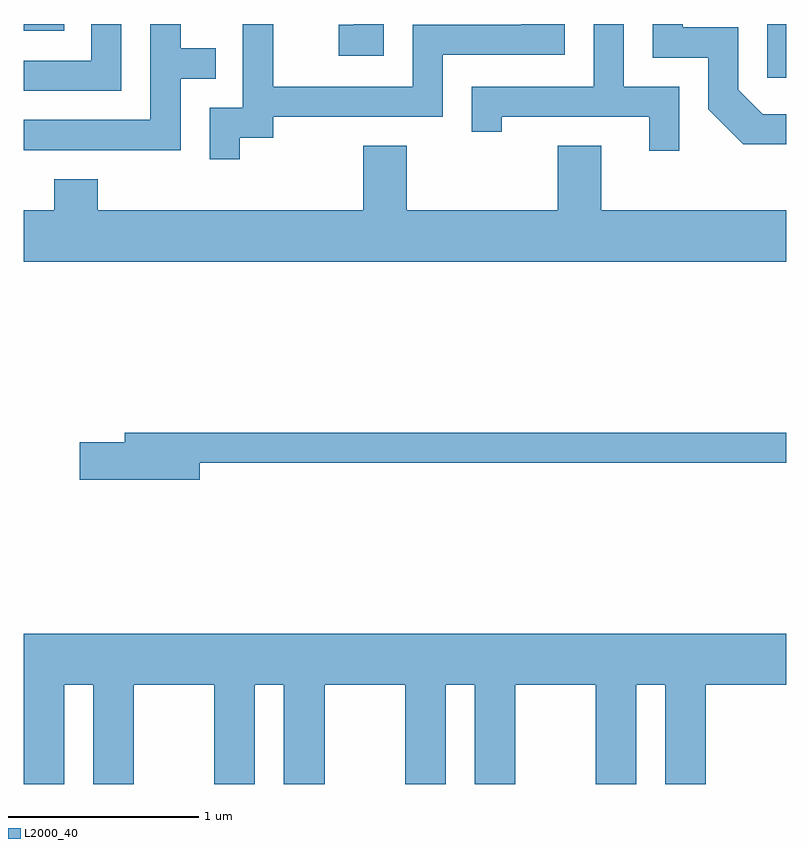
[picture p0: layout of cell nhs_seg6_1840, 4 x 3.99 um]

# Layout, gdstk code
import gdstk
lib = gdstk.Library(unit=1e-6, precision=1e-09)
def R(c, l, rs):  # rectangles x0, y0, x1, y1
    for r in rs: c.add(gdstk.rectangle(r[:2], r[2:], *l))
def P(c, l, *ps):  # polygons
    for p in ps: c.add(gdstk.Polygon(p, *l))
L2000_40 = (2000, 40)

nhs_seg6_1840 = lib.new_cell('nhs_seg6_1840')
R(nhs_seg6_1840, L2000_40, [(245.511,1559.881,245.611,1560.162), (241.611,1560.126,241.823,1560.162)])
P(nhs_seg6_1840, L2000_40, [(242.434,1559.876),(242.618,1559.876),(242.618,1560.034),(242.434,1560.034),(242.434,1560.162),(242.276,1560.162),(242.276,1559.659),(241.611,1559.659),(241.611,1559.501),(242.434,1559.501)],
  [(245.049,1559.834),(244.759,1559.834),(244.759,1560.162),(244.601,1560.162),(244.601,1559.834),(243.961,1559.834),(243.961,1559.598),(244.119,1559.598),(244.119,1559.676),(244.891,1559.676),(244.891,1559.498),(245.049,1559.498)],
  [(243.499,1560.162),(243.341,1560.162),(243.341,1560.159),(243.263,1560.159),(243.263,1559.996),(243.499,1559.996)],
  [(242.744,1559.566),(242.919,1559.566),(242.919,1559.676),(243.809,1559.676),(243.809,1560.001),(244.449,1560.001),(244.449,1560.162),(244.221,1560.162),(244.221,1560.159),(243.651,1560.159),(243.651,1559.834),(242.919,1559.834),(242.919,1560.162),(242.761,1560.162),(242.761,1559.724),(242.586,1559.724),(242.586,1559.453),(242.744,1559.453)],
  [(245.611,1559.689),(245.487,1559.689),(245.359,1559.817),(245.359,1560.144),(245.069,1560.144),(245.069,1560.162),(244.911,1560.162),(244.911,1559.986),(245.201,1559.986),(245.201,1559.714),(245.384,1559.531),(245.611,1559.531)],
  [(242.124,1560.162),(241.966,1560.162),(241.966,1559.969),(241.611,1559.969),(241.611,1559.811),(242.124,1559.811)],
  [(245.611,1559.184),(244.639,1559.184),(244.639,1559.524),(244.411,1559.524),(244.411,1559.184),(243.619,1559.184),(243.619,1559.524),(243.391,1559.524),(243.391,1559.184),(241.999,1559.184),(241.999,1559.349),(241.771,1559.349),(241.771,1559.184),(241.611,1559.184),(241.611,1558.916),(245.611,1558.916)],
  [(242.534,1557.861),(245.611,1557.861),(245.611,1558.019),(242.141,1558.019),(242.141,1557.969),(241.906,1557.969),(241.906,1557.771),(242.534,1557.771)],
  [(241.824,1556.696),(241.976,1556.696),(241.976,1556.176),(242.189,1556.176),(242.189,1556.696),(242.611,1556.696),(242.611,1556.176),(242.824,1556.176),(242.824,1556.696),(242.976,1556.696),(242.976,1556.176),(243.189,1556.176),(243.189,1556.696),(243.611,1556.696),(243.611,1556.176),(243.824,1556.176),(243.824,1556.696),(243.976,1556.696),(243.976,1556.176),(244.189,1556.176),(244.189,1556.696),(244.611,1556.696),(244.611,1556.176),(244.824,1556.176),(244.824,1556.696),(244.976,1556.696),(244.976,1556.176),(245.189,1556.176),(245.189,1556.696),(245.611,1556.696),(245.611,1556.964),(241.611,1556.964),(241.611,1556.176),(241.824,1556.176)])

lib.write_gds('nhs_seg6_1840.gds')
